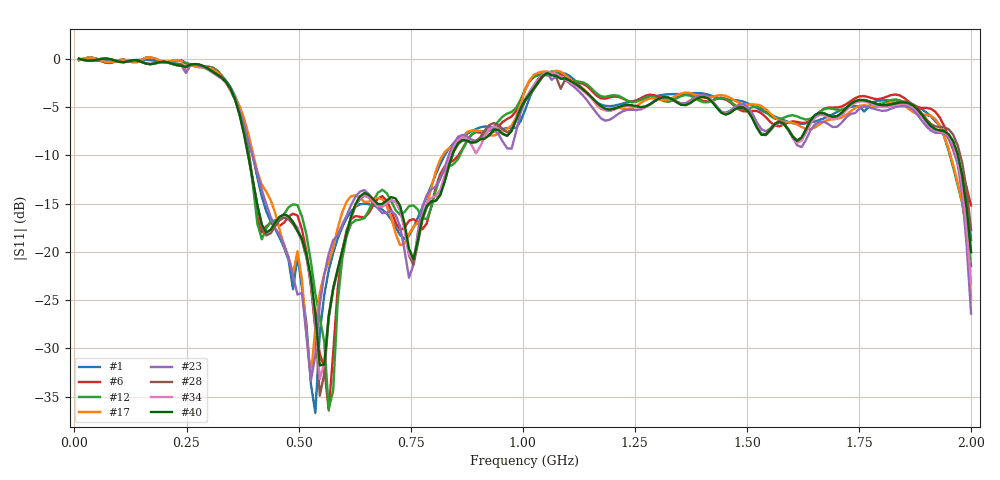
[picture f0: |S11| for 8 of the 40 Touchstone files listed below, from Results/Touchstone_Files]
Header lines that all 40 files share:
!Created with skrf (http://scikit-rf.org).
# Hz S RI R 50.0
!freq ReS11 ImS11
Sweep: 10 MHz to 2 GHz
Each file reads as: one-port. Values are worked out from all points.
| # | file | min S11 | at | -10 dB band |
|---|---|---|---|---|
| 1 | ANT1342H_P1.s1p | -36.7 dB | 537.4 MHz | 428.6 MHz wide |
| 2 | ANT1342H_P2.s1p | -38.5 dB | 567.2 MHz | 453.8 MHz wide |
| 3 | ANT1343H_P1.s1p | -32.7 dB | 527.4 MHz | 422.6 MHz wide |
| 4 | ANT1343H_P2.s1p | -40.7 dB | 557.2 MHz | 459.6 MHz wide |
| 5 | ANT1344H_P1.s1p | -34.7 dB | 537.4 MHz | 463.4 MHz wide |
| 6 | ANT1344H_P2.s1p | -36.4 dB | 567.2 MHz | 466.6 MHz wide |
| 7 | ANT1345H_P1.s1p | -36.7 dB | 527.4 MHz | 449.8 MHz wide |
| 8 | ANT1345H_P2.s1p | -37.9 dB | 577.1 MHz | 461.6 MHz wide |
| 9 | ANT1346H_P1.s1p | -29.8 dB | 527.4 MHz | 423.3 MHz wide |
| 10 | ANT1346H_P2.s1p | -29.1 dB | 527.4 MHz | 422.3 MHz wide |
| 11 | ANT1347H_P1.s1p | -46.0 dB | 527.4 MHz | 441.1 MHz wide |
| 12 | ANT1347H_P2.s1p | -36.3 dB | 567.2 MHz | 470.2 MHz wide |
| 13 | ANT1348H_P1.s1p | -38.0 dB | 537.4 MHz | 444.7 MHz wide |
| 14 | ANT1348H_P2.s1p | -37.6 dB | 567.2 MHz | 473.1 MHz wide |
| 15 | ANT1349H_P1.s1p | -31.5 dB | 527.4 MHz | 423.5 MHz wide |
| 16 | ANT1349H_P2.s1p | -39.9 dB | 557.2 MHz | 463.8 MHz wide |
| 17 | ANT1350H_P1.s1p | -33.0 dB | 527.4 MHz | 422.1 MHz wide |
| 18 | ANT1350H_P2.s1p | -46.7 dB | 557.2 MHz | 458.5 MHz wide |
| 19 | ANT1351H_Covered_P1.s1p | -31.4 dB | 497.6 MHz | 417.3 MHz wide |
| 20 | ANT1351H_Covered_P2.s1p | -36.6 dB | 547.3 MHz | 445.7 MHz wide |
| 21 | ANT1351H_P1.s1p | -32.6 dB | 527.4 MHz | 422.9 MHz wide |
| 22 | ANT1351H_P2.s1p | -40.2 dB | 557.2 MHz | 457.1 MHz wide |
| 23 | ANT1352H_P1.s1p | -33.3 dB | 527.4 MHz | 437.9 MHz wide |
| 24 | ANT1352H_P2.s1p | -34.0 dB | 557.2 MHz | 455.1 MHz wide |
| 25 | ANT1353H_P1.s1p | -33.7 dB | 527.4 MHz | 438.3 MHz wide |
| 26 | ANT1353H_P2.s1p | -34.5 dB | 557.2 MHz | 458.1 MHz wide |
| 27 | ANT1354H_P1.s1p | -32.1 dB | 527.4 MHz | 434.2 MHz wide |
| 28 | ANT1354H_P2.s1p | -34.9 dB | 547.3 MHz | 455.1 MHz wide |
| 29 | ANT1355H_P1.s1p | -34.1 dB | 527.4 MHz | 435.1 MHz wide |
| 30 | ANT1355H_P2.s1p | -30.0 dB | 547.3 MHz | 453.2 MHz wide |
| 31 | ANT1356H_P1.s1p | -33.9 dB | 527.4 MHz | 435.1 MHz wide |
| 32 | ANT1356H_P2.s1p | -33.1 dB | 557.2 MHz | 457.1 MHz wide |
| 33 | ANT1357H_P1.s1p | -31.9 dB | 527.4 MHz | 431.8 MHz wide |
| 34 | ANT1357H_P2.s1p | -33.2 dB | 547.3 MHz | 452.1 MHz wide |
| 35 | ANT1358H_P1.s1p | -30.9 dB | 527.4 MHz | 431.7 MHz wide |
| 36 | ANT1358H_P2.s1p | -33.6 dB | 547.3 MHz | 455.8 MHz wide |
| 37 | ANT1359H_P1.s1p | -33.3 dB | 527.4 MHz | 431.9 MHz wide |
| 38 | ANT1359H_P2.s1p | -34.7 dB | 547.3 MHz | 452.7 MHz wide |
| 39 | ANT1360H_P1.s1p | -34.0 dB | 527.4 MHz | 435.8 MHz wide |
| 40 | ANT1360H_P2.s1p | -31.8 dB | 547.3 MHz | 455.2 MHz wide |
